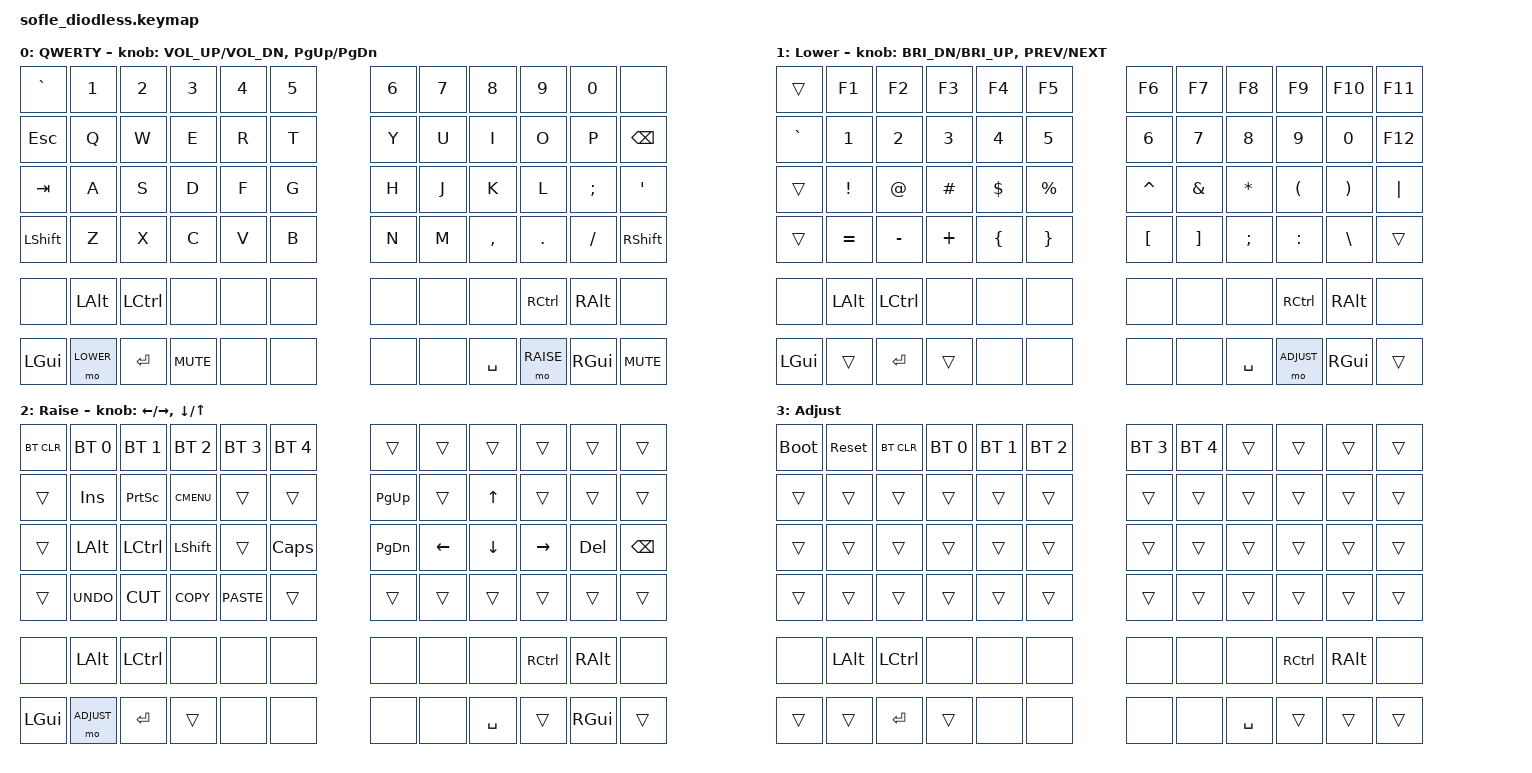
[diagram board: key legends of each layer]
/*
 * Copyright (c) 2026, sofle_diodless contributors
 * SPDX-License-Identifier: MIT
 */

/*
 * sofle_diodless.keymap — 4 слоя, по 72 биндинга (совпадает с
 * порядком map в sofle_diodless.dtsi: 6 логических строк x 12 столбцов).
 *
 *  позиция 0..5   левая  колонка 0..5 (внешний край -> центр)
 *  позиция 6..11  правая колонка 0..5 (центр -> внешний край)
 *
 *  ┌──────────────────────────────────────┬──────────────────────────────────────┐
 *  │  `   1   2   3   4   5              │  6   7   8   9   0   —            │
 *  │ ESC  Q   W   E   R   T              │  Y   U   I   O   P   BACKSPACE    │
 *  │ TAB  A   S   D   F   G   ★ home     │  H   J   K   L   ;   '     ★ home │
 *  │ SFT  Z   X   C   V   B              │  N   M   ,   .   /   SHIFT       │
 *  │ —   ALT CTRL  —   —   —             │  —   —   —  CTRL ALT  —           │
 *  │ GUI LOW ENT ENC — —    🔴 direct     │  —   —  SPC RAISE GUI ENC 🔴 direct │
 *  └──────────────────────────────────────┴──────────────────────────────────────┘
 *
 *  Слои:  0 DEFAULT, 1 LOWER, 2 RAISE, 3 ADJUST
 *  ADJUST включается удержанием LOWER + RAISE (conditional_layers)
 */

#include <behaviors.dtsi>
#include <dt-bindings/zmk/keys.h>
#include <dt-bindings/zmk/bt.h>

#define DEFAULT 0
#define LOWER   1
#define RAISE   2
#define ADJUST  3

/ {
    conditional_layers {
        compatible = "zmk,conditional-layers";

        adjust_layer {
            if-layers = <LOWER RAISE>;
            then-layer = <ADJUST>;
        };
    };

    keymap {
        compatible = "zmk,keymap";

        /* ═══════════════════════════════════════════════════════════
         *  LAYER 0 — DEFAULT
         * ═══════════════════════════════════════════════════════════ */
        default_layer {
            display-name = "QWERTY";
            bindings = <
/* pos  0 */ &kp GRAVE    &kp N1       &kp N2       &kp N3       &kp N4       &kp N5       &kp N6       &kp N7       &kp N8       &kp N9       &kp N0       &none
/* pos 12 */ &kp ESC      &kp Q        &kp W        &kp E        &kp R        &kp T        &kp Y        &kp U        &kp I        &kp O        &kp P        &kp BSPC
/* pos 24 */ &kp TAB      &kp A        &kp S        &kp D        &kp F        &kp G        &kp H        &kp J        &kp K        &kp L        &kp SEMI     &kp SQT
/* pos 36 */ &kp LSHFT    &kp Z        &kp X        &kp C        &kp V        &kp B        &kp N        &kp M        &kp COMMA    &kp DOT      &kp FSLH     &kp RSHFT
/* pos 48 */ &none        &kp LALT     &kp LCTRL    &none        &none        &none        &none        &none        &none        &kp RCTRL    &kp RALT     &none
/* pos 60 */ &kp LGUI     &mo LOWER    &kp RET      &kp C_MUTE   &none        &none        &none        &none        &kp SPACE    &mo RAISE    &kp RGUI     &kp C_MUTE
            >;

            sensor-bindings = <
                &inc_dec_kp C_VOL_UP C_VOL_DN
                &inc_dec_kp PG_UP    PG_DN
            >;
        };

        /* ═══════════════════════════════════════════════════════════
         *  LAYER 1 — LOWER  (символы, F1..F12, навигация)
         * ═══════════════════════════════════════════════════════════ */
        lower_layer {
            display-name = "Lower";
            bindings = <
/* pos  0 */ &trans       &kp F1       &kp F2       &kp F3       &kp F4       &kp F5       &kp F6       &kp F7       &kp F8       &kp F9       &kp F10      &kp F11
/* pos 12 */ &kp GRAVE    &kp N1       &kp N2       &kp N3       &kp N4       &kp N5       &kp N6       &kp N7       &kp N8       &kp N9       &kp N0       &kp F12
/* pos 24 */ &trans       &kp EXCL     &kp AT       &kp HASH     &kp DLLR     &kp PRCNT    &kp CARET    &kp AMPS     &kp ASTRK    &kp LPAR     &kp RPAR     &kp PIPE
/* pos 36 */ &trans       &kp EQUAL    &kp MINUS    &kp PLUS     &kp LBRC     &kp RBRC     &kp LBKT     &kp RBKT     &kp SEMI     &kp COLON    &kp BSLH     &trans
/* pos 48 */ &none        &kp LALT     &kp LCTRL    &none        &none        &none        &none        &none        &none        &kp RCTRL    &kp RALT     &none
/* pos 60 */ &kp LGUI     &trans       &kp RET      &trans       &none        &none        &none        &none        &kp SPACE    &mo ADJUST   &kp RGUI     &trans
            >;

            sensor-bindings = <
                &inc_dec_kp C_BRI_DN C_BRI_UP
                &inc_dec_kp C_PREV   C_NEXT
            >;
        };

        /* ═══════════════════════════════════════════════════════════
         *  LAYER 2 — RAISE  (BT, курсоры, clipboard, caps)
         * ═══════════════════════════════════════════════════════════ */
        raise_layer {
            display-name = "Raise";
            bindings = <
/* pos  0 */ &bt BT_CLR   &bt BT_SEL 0 &bt BT_SEL 1 &bt BT_SEL 2 &bt BT_SEL 3 &bt BT_SEL 4 &trans       &trans       &trans       &trans       &trans       &trans
/* pos 12 */ &trans       &kp INS      &kp PSCRN    &kp K_CMENU  &trans       &trans       &kp PG_UP    &trans       &kp UP       &trans       &trans       &trans
/* pos 24 */ &trans       &kp LALT     &kp LCTRL    &kp LSHFT    &trans       &kp CLCK     &kp PG_DN    &kp LEFT     &kp DOWN     &kp RIGHT    &kp DEL      &kp BSPC
/* pos 36 */ &trans       &kp K_UNDO   &kp K_CUT    &kp K_COPY   &kp K_PASTE  &trans       &trans       &trans       &trans       &trans       &trans       &trans
/* pos 48 */ &none        &kp LALT     &kp LCTRL    &none        &none        &none        &none        &none        &none        &kp RCTRL    &kp RALT     &none
/* pos 60 */ &kp LGUI     &mo ADJUST   &kp RET      &trans       &none        &none        &none        &none        &kp SPACE    &trans       &kp RGUI     &trans
            >;

            sensor-bindings = <
                &inc_dec_kp LEFT     RIGHT
                &inc_dec_kp DOWN     UP
            >;
        };

        /* ═══════════════════════════════════════════════════════════
         *  LAYER 3 — ADJUST  (bootloader, reset, Bluetooth)
         * ═══════════════════════════════════════════════════════════ */
        adjust_layer {
            display-name = "Adjust";
            bindings = <
/* pos  0 */ &bootloader  &sys_reset   &bt BT_CLR   &bt BT_SEL 0 &bt BT_SEL 1 &bt BT_SEL 2 &bt BT_SEL 3 &bt BT_SEL 4 &trans       &trans       &trans       &trans
/* pos 12 */ &trans       &trans       &trans       &trans       &trans       &trans       &trans       &trans       &trans       &trans       &trans       &trans
/* pos 24 */ &trans       &trans       &trans       &trans       &trans       &trans       &trans       &trans       &trans       &trans       &trans       &trans
/* pos 36 */ &trans       &trans       &trans       &trans       &trans       &trans       &trans       &trans       &trans       &trans       &trans       &trans
/* pos 48 */ &none        &kp LALT     &kp LCTRL    &none        &none        &none        &none        &none        &none        &kp RCTRL    &kp RALT     &none
/* pos 60 */ &trans       &trans       &kp RET      &trans       &none        &none        &none        &none        &kp SPACE    &trans       &trans       &trans
            >;
        };
    };
};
